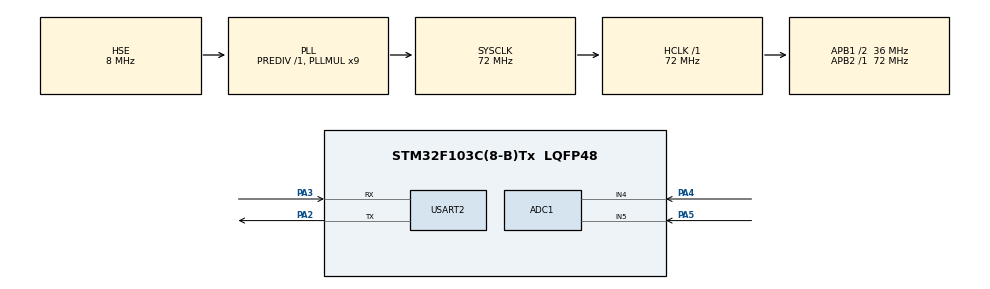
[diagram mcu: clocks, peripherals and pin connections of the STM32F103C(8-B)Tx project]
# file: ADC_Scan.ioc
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ADC1.Channel-0\#ChannelRegularConversion=ADC_CHANNEL_5
ADC1.Channel-1\#ChannelRegularConversion=ADC_CHANNEL_4
ADC1.Channel-2\#ChannelRegularConversion=ADC_CHANNEL_TEMPSENSOR
ADC1.Channel-3\#ChannelRegularConversion=ADC_CHANNEL_VREFINT
ADC1.ContinuousConvMode=ENABLE
ADC1.NbrOfConversion=4
ADC1.NbrOfConversionFlag=1
ADC1.Rank-0\#ChannelRegularConversion=1
ADC1.Rank-1\#ChannelRegularConversion=2
ADC1.Rank-2\#ChannelRegularConversion=3
ADC1.Rank-3\#ChannelRegularConversion=4
ADC1.SamplingTime-0\#ChannelRegularConversion=ADC_SAMPLETIME_71CYCLES_5
ADC1.SamplingTime-1\#ChannelRegularConversion=ADC_SAMPLETIME_71CYCLES_5
ADC1.SamplingTime-2\#ChannelRegularConversion=ADC_SAMPLETIME_71CYCLES_5
ADC1.SamplingTime-3\#ChannelRegularConversion=ADC_SAMPLETIME_71CYCLES_5
ADC1.master=1
Dma.ADC1.0.Direction=DMA_PERIPH_TO_MEMORY
Dma.ADC1.0.Instance=DMA1_Channel1
Dma.ADC1.0.MemDataAlignment=DMA_MDATAALIGN_HALFWORD
Dma.ADC1.0.MemInc=DMA_MINC_ENABLE
Dma.ADC1.0.Mode=DMA_CIRCULAR
Dma.ADC1.0.PeriphDataAlignment=DMA_PDATAALIGN_HALFWORD
Dma.ADC1.0.PeriphInc=DMA_PINC_DISABLE
Dma.ADC1.0.Priority=DMA_PRIORITY_LOW
Dma.Request0=ADC1
Mcu.Family=STM32F1
Mcu.Name=STM32F103C(8-B)Tx
Mcu.Package=LQFP48
NVIC.DMA1_Channel1_IRQn=true\:0\:0\:false\:false\:true\:false\:true\:true
NVIC.PriorityGroup=NVIC_PRIORITYGROUP_4
PA13.Mode=Serial_Wire
PA13.Signal=SYS_JTMS-SWDIO
PA14.Mode=Serial_Wire
PA14.Signal=SYS_JTCK-SWCLK
PA2.Mode=Asynchronous
PA2.Signal=USART2_TX
PA3.Mode=Asynchronous
PA3.Signal=USART2_RX
PA4.Signal=ADCx_IN4
PA5.Signal=ADCx_IN5
PD0-OSC_IN.Mode=HSE-External-Oscillator
PD0-OSC_IN.Signal=RCC_OSC_IN
PD1-OSC_OUT.Mode=HSE-External-Oscillator
PD1-OSC_OUT.Signal=RCC_OSC_OUT
ProjectManager.HeapSize=0x200
ProjectManager.StackSize=0x400
ProjectManager.TargetToolchain=STM32CubeIDE
RCC.ADCPresc=RCC_ADCPCLK2_DIV6
RCC.AHBFreq_Value=72000000
RCC.APB1CLKDivider=RCC_HCLK_DIV2
RCC.APB1Freq_Value=36000000
RCC.APB1TimFreq_Value=72000000
RCC.APB2Freq_Value=72000000
RCC.APB2TimFreq_Value=72000000
RCC.HCLKFreq_Value=72000000
RCC.PLLMUL=RCC_PLL_MUL9
RCC.PLLSourceVirtual=RCC_PLLSOURCE_HSE
RCC.SYSCLKFreq_VALUE=72000000
RCC.SYSCLKSource=RCC_SYSCLKSOURCE_PLLCLK
RCC.USBFreq_Value=72000000
SH.ADCx_IN4.0=ADC1_IN4,IN4
SH.ADCx_IN5.0=ADC1_IN5,IN5
USART2.VirtualMode=VM_ASYNC
VP_ADC1_TempSens_Input.Mode=IN-TempSens
VP_ADC1_Vref_Input.Mode=IN-Vrefint
board=custom

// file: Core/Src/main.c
/* USER CODE BEGIN Header */
/**
  ******************************************************************************
  * @file           : main.c
  * @brief          : Main program body
  ******************************************************************************
  * @attention
  *
  * Copyright (c) 2024 STMicroelectronics.
  * All rights reserved.
  *
  * This software is licensed under terms that can be found in the LICENSE file
  * in the root directory of this software component.
  * If no LICENSE file comes with this software, it is provided AS-IS.
  *
  ******************************************************************************
  */
/* USER CODE END Header */
#include "main.h"

/* USER CODE BEGIN Includes */
#include <stdio.h>
#include <string.h>
#include <math.h>
/* USER CODE END Includes */

ADC_HandleTypeDef hadc1;
DMA_HandleTypeDef hdma_adc1;

UART_HandleTypeDef huart2;

void SystemClock_Config(void);
static void MX_GPIO_Init(void);
static void MX_DMA_Init(void);
static void MX_ADC1_Init(void);
static void MX_USART2_UART_Init(void);

/* USER CODE BEGIN 0 */
uint16_t values[4];
char message[50] = "";

float ADC2Resistance(uint32_t adc_value) {
  return (adc_value / (4095.0f - adc_value)) * 10000.0f;
}

float resistance2Temperature(float R1) {
  float B = 3950.0f;
  float R2 = 10000.0f;
  float T2 = 25.0f;
  return (1.0 / ((1.0 / B) * log(R1 / R2) + (1.0 / (T2 + 273.15))) - 273.15);
}

//void HAL_ADC_ConvCpltCallback(ADC_HandleTypeDef* hadc){
//	if (hadc == &hadc1){
//		sprintf(message, "%d %d %d %d", values[0], values[1], values[2], values[3]);
//		HAL_UART_Transmit(&huart2, (uint8_t*)message, strlen(message), HAL_MAX_DELAY);
//	}
//}
/* USER CODE END 0 */

int main(void)
{

  /* MCU Configuration--------------------------------------------------------*/

  /* Reset of all peripherals, Initializes the Flash interface and the Systick. */
  HAL_Init();

  /* Configure the system clock */
  SystemClock_Config();

  /* Initialize all configured peripherals */
  MX_GPIO_Init();
  MX_DMA_Init();
  MX_ADC1_Init();
  MX_USART2_UART_Init();
  /* USER CODE BEGIN 2 */
  HAL_ADCEx_Calibration_Start(&hadc1);
  HAL_ADC_Start_DMA(&hadc1, (uint32_t*)values, sizeof(values)/sizeof(uint16_t));

  float NTC_R = 0.0;
  float temperature = 0.0;

  float Vref = 0.0;
  float voltage = 0.0;

  /* USER CODE END 2 */

  /* Infinite loop */
  /* USER CODE BEGIN WHILE */
  while (1)
  {
//	  HAL_ADC_Start_DMA(&hadc1, (uint32_t*)values, sizeof(values)/sizeof(uint16_t));
	  HAL_Delay(500);
//	  sprintf(message, "%d %d %d %d", values[0], values[1], values[2], values[3]);
//	  HAL_UART_Transmit(&huart2, (uint8_t*)message, strlen(message), HAL_MAX_DELAY);

//	  NTC_R = ADC2Resistance(values[1]);
//	  temperature = resistance2Temperature(NTC_R);
//	  sprintf(message, "阻值: %.0f Ω  温度: %.2f ℃", NTC_R, temperature);
//	  HAL_UART_Transmit(&huart2, (uint8_t*)message, strlen(message), HAL_MAX_DELAY);

	  Vref = 1.2 * (4095.0 / (float)values[3]);
	  voltage = (values[0] / 4095.0) * Vref;
	  sprintf(message, "ADC: %d  %.2f", values[0], voltage);
	  HAL_UART_Transmit(&huart2, (uint8_t*)message, strlen(message), HAL_MAX_DELAY);
    /* USER CODE END WHILE */

  }
}

void SystemClock_Config(void)
{
  RCC_OscInitTypeDef RCC_OscInitStruct = {0};
  RCC_ClkInitTypeDef RCC_ClkInitStruct = {0};
  RCC_PeriphCLKInitTypeDef PeriphClkInit = {0};

  /** Initializes the RCC Oscillators according to the specified parameters
  * in the RCC_OscInitTypeDef structure.
  */
  RCC_OscInitStruct.OscillatorType = RCC_OSCILLATORTYPE_HSE;
  RCC_OscInitStruct.HSEState = RCC_HSE_ON;
  RCC_OscInitStruct.HSEPredivValue = RCC_HSE_PREDIV_DIV1;
  RCC_OscInitStruct.HSIState = RCC_HSI_ON;
  RCC_OscInitStruct.PLL.PLLState = RCC_PLL_ON;
  RCC_OscInitStruct.PLL.PLLSource = RCC_PLLSOURCE_HSE;
  RCC_OscInitStruct.PLL.PLLMUL = RCC_PLL_MUL9;
  if (HAL_RCC_OscConfig(&RCC_OscInitStruct) != HAL_OK)
  {
    Error_Handler();
  }

  /** Initializes the CPU, AHB and APB buses clocks
  */
  RCC_ClkInitStruct.ClockType = RCC_CLOCKTYPE_HCLK|RCC_CLOCKTYPE_SYSCLK
                              |RCC_CLOCKTYPE_PCLK1|RCC_CLOCKTYPE_PCLK2;
  RCC_ClkInitStruct.SYSCLKSource = RCC_SYSCLKSOURCE_PLLCLK;
  RCC_ClkInitStruct.AHBCLKDivider = RCC_SYSCLK_DIV1;
  RCC_ClkInitStruct.APB1CLKDivider = RCC_HCLK_DIV2;
  RCC_ClkInitStruct.APB2CLKDivider = RCC_HCLK_DIV1;

  if (HAL_RCC_ClockConfig(&RCC_ClkInitStruct, FLASH_LATENCY_2) != HAL_OK)
  {
    Error_Handler();
  }
  PeriphClkInit.PeriphClockSelection = RCC_PERIPHCLK_ADC;
  PeriphClkInit.AdcClockSelection = RCC_ADCPCLK2_DIV6;
  if (HAL_RCCEx_PeriphCLKConfig(&PeriphClkInit) != HAL_OK)
  {
    Error_Handler();
  }
}

static void MX_ADC1_Init(void)
{

  ADC_ChannelConfTypeDef sConfig = {0};

  /** Common config
  */
  hadc1.Instance = ADC1;
  hadc1.Init.ScanConvMode = ADC_SCAN_ENABLE;
  hadc1.Init.ContinuousConvMode = ENABLE;
  hadc1.Init.DiscontinuousConvMode = DISABLE;
  hadc1.Init.ExternalTrigConv = ADC_SOFTWARE_START;
  hadc1.Init.DataAlign = ADC_DATAALIGN_RIGHT;
  hadc1.Init.NbrOfConversion = 4;
  if (HAL_ADC_Init(&hadc1) != HAL_OK)
  {
    Error_Handler();
  }

  /** Configure Regular Channel
  */
  sConfig.Channel = ADC_CHANNEL_5;
  sConfig.Rank = ADC_REGULAR_RANK_1;
  sConfig.SamplingTime = ADC_SAMPLETIME_71CYCLES_5;
  if (HAL_ADC_ConfigChannel(&hadc1, &sConfig) != HAL_OK)
  {
    Error_Handler();
  }

  /** Configure Regular Channel
  */
  sConfig.Channel = ADC_CHANNEL_4;
  sConfig.Rank = ADC_REGULAR_RANK_2;
  if (HAL_ADC_ConfigChannel(&hadc1, &sConfig) != HAL_OK)
  {
    Error_Handler();
  }

  /** Configure Regular Channel
  */
  sConfig.Channel = ADC_CHANNEL_TEMPSENSOR;
  sConfig.Rank = ADC_REGULAR_RANK_3;
  if (HAL_ADC_ConfigChannel(&hadc1, &sConfig) != HAL_OK)
  {
    Error_Handler();
  }

  /** Configure Regular Channel
  */
  sConfig.Channel = ADC_CHANNEL_VREFINT;
  sConfig.Rank = ADC_REGULAR_RANK_4;
  if (HAL_ADC_ConfigChannel(&hadc1, &sConfig) != HAL_OK)
  {
    Error_Handler();
  }

}

static void MX_USART2_UART_Init(void)
{

  huart2.Instance = USART2;
  huart2.Init.BaudRate = 115200;
  huart2.Init.WordLength = UART_WORDLENGTH_8B;
  huart2.Init.StopBits = UART_STOPBITS_1;
  huart2.Init.Parity = UART_PARITY_NONE;
  huart2.Init.Mode = UART_MODE_TX_RX;
  huart2.Init.HwFlowCtl = UART_HWCONTROL_NONE;
  huart2.Init.OverSampling = UART_OVERSAMPLING_16;
  if (HAL_UART_Init(&huart2) != HAL_OK)
  {
    Error_Handler();
  }

}

static void MX_DMA_Init(void)
{

  /* DMA controller clock enable */
  __HAL_RCC_DMA1_CLK_ENABLE();

  /* DMA interrupt init */
  /* DMA1_Channel1_IRQn interrupt configuration */
  HAL_NVIC_SetPriority(DMA1_Channel1_IRQn, 0, 0);
  HAL_NVIC_EnableIRQ(DMA1_Channel1_IRQn);

}

static void MX_GPIO_Init(void)
{

  /* GPIO Ports Clock Enable */
  __HAL_RCC_GPIOD_CLK_ENABLE();
  __HAL_RCC_GPIOA_CLK_ENABLE();

}

void Error_Handler(void)
{
  __disable_irq();
  while (1)
  {
  }
}
